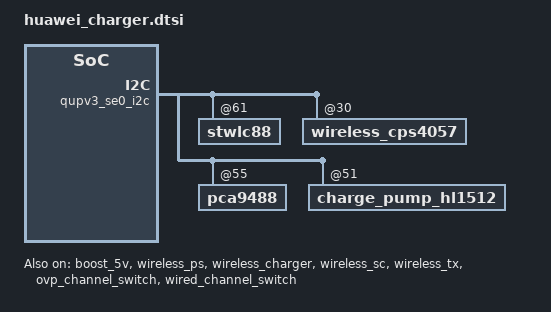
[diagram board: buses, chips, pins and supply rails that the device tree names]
&qupv3_se0_i2c {
	stwlc88@61 {
		status = "ok";
	};
	wireless_cps4057@30 {
		support_multi_tx = <1>;
		#include "../../../huawei_charger/cps4057_ELZ_fodpara_proplus.dtsi"
		status = "ok";
	};
	pca9488@55 {
		status = "ok";
	};
	charge_pump_hl1512@51 {
		status = "ok";
	};
};

&boost_5v {
	status = "ok";
};

&wireless_ps {
	status = "ok";
};

&wireless_charger {
	fod_status = <0x3A41>;
	fod_status_para = <
		/* tx_type  fod_status */
		13    0x2B3E
	>;
	status = "ok";
};

&wireless_sc {
	status = "ok";
};

&wireless_tx {
	status = "ok";
};

&ovp_channel_switch {
	status = "ok";
};

&wired_channel_switch {
	status = "ok";
};
